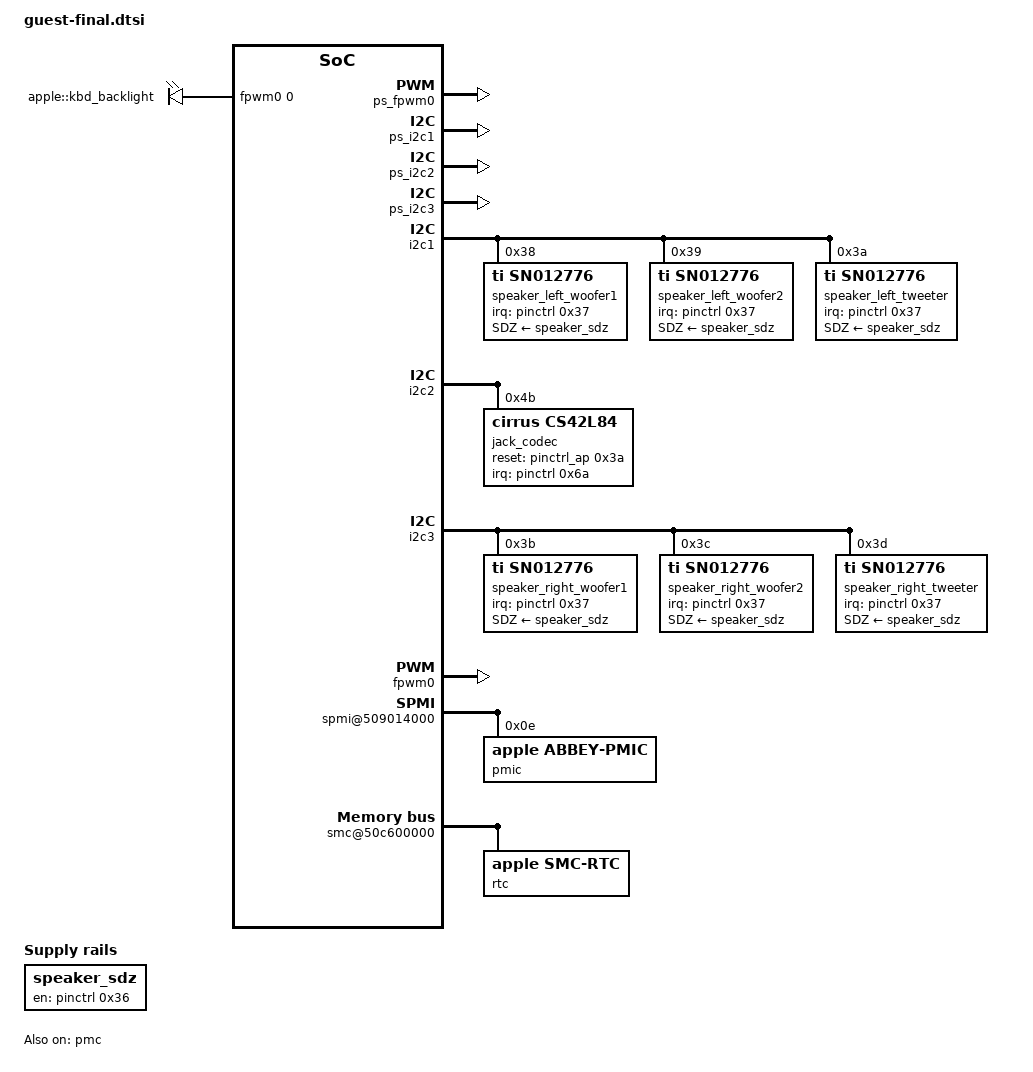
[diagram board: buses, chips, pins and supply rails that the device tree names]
// SPDX-License-Identifier: GPL-2.0-only
// F35 final: the devices the daily J616s DT has and the e2e guest lacked, ported node by node from the daily t6040-j616s DT
// (7.3.0-m4.165) and the live ADT (11-02). Rules: every DART register page is SPTM Table A and is never
// mapped, the guest's apple,dart-apif forwards table 3 through the monitor; every controller page here is Table B and the
// monitor maps it 1:1 (platform-io.h, checked by tools/check-io.py). "mhold-aop" nodes come alive only when the monitor's
// dart-aop facts match (iommu.c g_aop_ok); the rest is plain DT + MMIO.
//
// Deferred to a later candidate: USB-C ports 0/1 in host mode (the ATC PHY coprocessor "phy-cpu" never ran under the monitor;
// the gadget profile alone would be useless to the user), AVD, PMP, ISP (3 DART instances + DAPF), dcpext0/1, ANE.
/ {
	// power states of the sio bus island: parents of i2c and fpwm (daily DT labels; the node merges into the e2e one)
	power-management@502280000 {
		compatible = "apple,t6041-pmgr", "apple,pmgr", "syscon", "simple-mfd";
		#address-cells = <1>;
		#size-cells = <1>;
		reg = <0x5 0x02280000 0x0 0x4000>;
		ps_sio: power-controller@120 {
			compatible = "apple,t6041-pmgr-pwrstate", "apple,pmgr-pwrstate";
			reg = <0x120 0x4>; #power-domain-cells = <0>; #reset-cells = <0>;
			label = "sio"; apple,always-on;
		};
		ps_fpwm0: power-controller@138 {
			compatible = "apple,t6041-pmgr-pwrstate", "apple,pmgr-pwrstate";
			reg = <0x138 0x4>; #power-domain-cells = <0>; #reset-cells = <0>;
			label = "fpwm0"; apple,always-on;
			power-domains = <&ps_sio>;
		};
		ps_i2c1: power-controller@158 {
			compatible = "apple,t6041-pmgr-pwrstate", "apple,pmgr-pwrstate";
			reg = <0x158 0x4>; #power-domain-cells = <0>; #reset-cells = <0>;
			label = "i2c1"; apple,always-on;
			power-domains = <&ps_sio>;
		};
		ps_i2c2: power-controller@160 {
			compatible = "apple,t6041-pmgr-pwrstate", "apple,pmgr-pwrstate";
			reg = <0x160 0x4>; #power-domain-cells = <0>; #reset-cells = <0>;
			label = "i2c2"; apple,always-on;
			power-domains = <&ps_sio>;
		};
		ps_i2c3: power-controller@168 {
			compatible = "apple,t6041-pmgr-pwrstate", "apple,pmgr-pwrstate";
			reg = <0x168 0x4>; #power-domain-cells = <0>; #reset-cells = <0>;
			label = "i2c3"; apple,always-on;
			power-domains = <&ps_sio>;
		};
	};
	power-management@508300000 {
		compatible = "apple,t6041-pmgr", "apple,pmgr", "syscon", "simple-mfd";
		#address-cells = <1>;
		#size-cells = <1>;
		reg = <0x5 0x08300000 0x0 0x4000>;
		ps_gpio: power-controller@90 {
			compatible = "apple,t6041-pmgr-pwrstate", "apple,pmgr-pwrstate";
			reg = <0x90 0x4>; #power-domain-cells = <0>; #reset-cells = <0>;
			label = "gpio"; apple,always-on;
		};
	};

	// the AP pinctrl of the e2e guest (PERST/CLKREQ) becomes the interrupt controller the codecs and the sdz regulator use (daily DT)
	pinctrl@51c000000 {
		interrupt-controller;
		#interrupt-cells = <2>;
		interrupt-parent = <&aic>;
		interrupts = <0x0 0x1de 0x4 0x0 0x1df 0x4 0x0 0x1e0 0x4 0x0 0x1e1 0x4 0x0 0x1e2 0x4 0x0 0x1e3 0x4 0x0 0x1e4 0x4>;
		// the i2c pin groups live on this 200-pin controller (pins 58..63), not on the 61-pin pinctrl_ap (F35 HW 11-02: i2c3 and the jack reset collided there)
		i2c1_pins: i2c1-pins { pinmux = <0x1003a 0x1003b>; };
		i2c2_pins: i2c2-pins { pinmux = <0x1003c 0x1003d>; };
		i2c3_pins: i2c3-pins { pinmux = <0x1003e 0x1003f>; };
	};
	pinctrl_ap: pinctrl@5081e4000 {
		compatible = "apple,t6041-pinctrl", "apple,t8103-pinctrl";
		reg = <0x5 0x081e4000 0x0 0x4000>;
		power-domains = <&ps_gpio>;
		gpio-controller;
		#gpio-cells = <2>;
		gpio-ranges = <&pinctrl_ap 0 0 0x3d>;
		apple,npins = <0x3d>;
		interrupt-parent = <&aic>;
	};

	// === speakers: six TAS2764 on i2c1/i2c3 behind one fail-closed shutdown line, the jack codec on i2c2 ===
	speaker_sdz: regulator-sn012776-sdz {
		compatible = "regulator-fixed";
		regulator-name = "sn012776-sdz";
		gpios = <&pinctrl 0x36 0>;
		enable-active-high;
	};
	i2c1: i2c@429014000 {
		compatible = "apple,t6041-i2c", "apple,t8103-i2c";
		reg = <0x4 0x29014000 0x0 0x4000>;
		clocks = <&clkref>;
		interrupt-parent = <&aic>;
		interrupts = <0x0 0x628 0x4>;
		pinctrl-0 = <&i2c1_pins>;
		pinctrl-names = "default";
		power-domains = <&ps_i2c1>;
		#address-cells = <1>;
		#size-cells = <0>;
		status = "okay";
		speaker_left_woofer1: codec@38 {
			compatible = "ti,sn012776", "ti,tas2764";
			reg = <0x38>;
			SDZ-supply = <&speaker_sdz>;
			apple,sdz-group-fail-closed;
			#sound-dai-cells = <0>;
			sound-name-prefix = "Left Woofer 1";
			interrupts-extended = <&pinctrl 0x37 8>;
			ti,imon-slot-no = <0>;
			ti,vmon-slot-no = <2>;
		};
		speaker_left_woofer2: codec@39 {
			compatible = "ti,sn012776", "ti,tas2764";
			reg = <0x39>;
			SDZ-supply = <&speaker_sdz>;
			apple,sdz-group-fail-closed;
			#sound-dai-cells = <0>;
			sound-name-prefix = "Left Woofer 2";
			interrupts-extended = <&pinctrl 0x37 8>;
			ti,imon-slot-no = <8>;
			ti,vmon-slot-no = <10>;
		};
		speaker_left_tweeter: codec@3a {
			compatible = "ti,sn012776", "ti,tas2764";
			reg = <0x3a>;
			SDZ-supply = <&speaker_sdz>;
			apple,sdz-group-fail-closed;
			#sound-dai-cells = <0>;
			sound-name-prefix = "Left Tweeter";
			interrupts-extended = <&pinctrl 0x37 8>;
			ti,imon-slot-no = <16>;
			ti,vmon-slot-no = <18>;
		};
	};
	i2c2: i2c@429018000 {
		compatible = "apple,t6041-i2c", "apple,t8103-i2c";
		reg = <0x4 0x29018000 0x0 0x4000>;
		clocks = <&clkref>;
		interrupt-parent = <&aic>;
		interrupts = <0x0 0x629 0x4>;
		pinctrl-0 = <&i2c2_pins>;
		pinctrl-names = "default";
		power-domains = <&ps_i2c2>;
		#address-cells = <1>;
		#size-cells = <0>;
		status = "okay";
		jack_codec: codec@4b {
			compatible = "cirrus,cs42l84";
			reg = <0x4b>;
			reset-gpios = <&pinctrl_ap 0x3a 0>;
			#sound-dai-cells = <0>;
			interrupts-extended = <&pinctrl 0x6a 8>;
			sound-name-prefix = "Jack";
		};
	};
	i2c3: i2c@42901c000 {
		compatible = "apple,t6041-i2c", "apple,t8103-i2c";
		reg = <0x4 0x2901c000 0x0 0x4000>;
		clocks = <&clkref>;
		interrupt-parent = <&aic>;
		interrupts = <0x0 0x62a 0x4>;
		pinctrl-0 = <&i2c3_pins>;
		pinctrl-names = "default";
		power-domains = <&ps_i2c3>;
		#address-cells = <1>;
		#size-cells = <0>;
		status = "okay";
		speaker_right_woofer1: codec@3b {
			compatible = "ti,sn012776", "ti,tas2764";
			reg = <0x3b>;
			SDZ-supply = <&speaker_sdz>;
			apple,sdz-group-fail-closed;
			#sound-dai-cells = <0>;
			sound-name-prefix = "Right Woofer 1";
			interrupts-extended = <&pinctrl 0x37 8>;
			ti,imon-slot-no = <4>;
			ti,vmon-slot-no = <6>;
		};
		speaker_right_woofer2: codec@3c {
			compatible = "ti,sn012776", "ti,tas2764";
			reg = <0x3c>;
			SDZ-supply = <&speaker_sdz>;
			apple,sdz-group-fail-closed;
			#sound-dai-cells = <0>;
			sound-name-prefix = "Right Woofer 2";
			interrupts-extended = <&pinctrl 0x37 8>;
			ti,imon-slot-no = <12>;
			ti,vmon-slot-no = <14>;
		};
		speaker_right_tweeter: codec@3d {
			compatible = "ti,sn012776", "ti,tas2764";
			reg = <0x3d>;
			SDZ-supply = <&speaker_sdz>;
			apple,sdz-group-fail-closed;
			#sound-dai-cells = <0>;
			sound-name-prefix = "Right Tweeter";
			interrupts-extended = <&pinctrl 0x37 8>;
			ti,imon-slot-no = <20>;
			ti,vmon-slot-no = <22>;
		};
	};

	// === AOP: the always-on coprocessor (pre-loaded RTKit, adopted) and its DART; the audio DAI the speakers and mics hang on ===
	dart_aop: iommu@510f00000 {
		compatible = "apple,dart-apif";
		#iommu-cells = <1>;
		aurora,apif = <&apif>;
		apple,apif-dart-id = <0xba5e0a01>;   // live ADT dart-aop (0xa); the monitor patches it when its checks pass
		apple,apif-num-streams = <16>;       // ADT sid-count
		apple,dma-range = <0x100 0x14000 0x2ff 0xfffec000>;   // ADT vm-base 0x10000014000, vm-size 0x2fffffec000 (4 levels, 42 bits)
		apple,apif-reserve-last-page;
		status = "disabled";   // F35.1: AOP off — the first dart-aop INIT stopped the Mac on F35 (11-02 10:16); back when the stop is understood
	};
	aop_mbox: mailbox@510608000 {
		compatible = "apple,t6041-asc-mailbox", "apple,asc-mailbox-v4";
		reg = <0x5 0x10608000 0x0 0x4000>;
		interrupt-parent = <&aic>;
		interrupts = <0x0 0x2c6 0x4 0x0 0x2c7 0x4 0x0 0x2c8 0x4 0x0 0x2c9 0x4>;
		interrupt-names = "send-empty", "send-not-empty", "recv-empty", "recv-not-empty";
		#mbox-cells = <0>;
		status = "disabled";   // F35.1: AOP off — the first dart-aop INIT stopped the Mac on F35 (11-02 10:16); back when the stop is understood
	};
	admac_aop: dma-controller@513300000 {
		compatible = "apple,t6041-admac", "apple,t8132-admac";
		reg = <0x5 0x13300000 0x0 0x34000>;
		#dma-cells = <1>;
		dma-channels = <18>;
		interrupts-extended = <&aic 0x0 0x2f5 0x4>, <0 0 0>;
		iommus = <&dart_aop 10>;
		status = "disabled";   // F35.1: AOP off — the first dart-aop INIT stopped the Mac on F35 (11-02 10:16); back when the stop is understood
	};
	admac_sio: dma-controller@513800000 {
		compatible = "apple,t6041-admac", "apple,t8132-admac";
		reg = <0x5 0x13800000 0x0 0x34000>;
		#dma-cells = <1>;
		dma-channels = <13>;
		interrupts-extended = <&aic 0x0 0x2f2 0x4>, <0 0 0>;
		iommus = <&dart_aop 8>;
		status = "disabled";   // F35.1: AOP off — the first dart-aop INIT stopped the Mac on F35 (11-02 10:16); back when the stop is understood
	};
	aop: aop@510600000 {
		compatible = "apple,t6041-aop", "apple,t6040-aop";
		reg = <0x5 0x10c10000 0x0 0x2e0000>, <0x5 0x10600000 0x0 0x88000>, <0x5 0x10050000 0x0 0x4000>, <0x5 0x08328000 0x0 0x24>;
		reg-names = "firmware", "asc", "asc-aux", "config";
		mboxes = <&aop_mbox>;
		mbox-names = "mbox";
		iommus = <&dart_aop 0>;
		#address-cells = <2>;
		#size-cells = <2>;
		status = "disabled";   // F35.1: AOP off — the first dart-aop INIT stopped the Mac on F35 (11-02 10:16); back when the stop is understood
		aop_audio: audio {
			compatible = "apple,t6041-aop-audio", "apple,t6030-aop-audio";
			dmas = <&admac_aop 1>, <&admac_sio 0>, <&admac_sio 1>, <&admac_sio 4>, <&admac_sio 5>;
			dma-names = "dma", "spkr", "sense", "cout", "cin";
			#sound-dai-cells = <1>;
			apple,chassis-name = "J616";
			apple,machine-kind = "MacBook Pro";
		};
		als { compatible = "apple,t6041-aop-als", "apple,aop-als"; };
		las { compatible = "apple,t6041-aop-las", "apple,aop-las"; };
	};
	sound {
		compatible = "apple,j616-macaudio", "apple,macaudio";
		model = "MacBook Pro J616";
		#address-cells = <1>;
		#size-cells = <0>;
		status = "disabled";   // F35.1: AOP off — the first dart-aop INIT stopped the Mac on F35 (11-02 10:16); back when the stop is understood
		dai-link@0 {
			reg = <0>;
			link-name = "Speakers";
			dai-tdm-idle-mode-0 = "zero";
			dai-tdm-idle-mode-1 = "zero";
			dai-tdm-slot-tx-idle-mask-0 = <0xf0f0f0>;
			dai-tdm-slot-tx-idle-mask-1 = <0xf0f0f>;
			cpu { sound-dai = <&aop_audio 3>; };
			codec { sound-dai = <&speaker_left_woofer1>, <&speaker_right_woofer1>, <&speaker_left_woofer2>, <&speaker_right_woofer2>, <&speaker_left_tweeter>, <&speaker_right_tweeter>; };
		};
	};
	sound-jack {
		compatible = "apple,j616-macaudio-jack", "apple,macaudio";
		model = "MacBook Pro J616 Jack";
		#address-cells = <1>;
		#size-cells = <0>;
		status = "disabled";   // F35.1: AOP off — the first dart-aop INIT stopped the Mac on F35 (11-02 10:16); back when the stop is understood
		dai-link@0 {
			reg = <0>;
			link-name = "Headphone Jack";
			cpu { sound-dai = <&aop_audio 4>; };
			codec { sound-dai = <&jack_codec>; };
		};
	};

	// === keyboard backlight ===
	fpwm0: pwm@429040000 {
		compatible = "apple,t6041-fpwm", "apple,s5l-fpwm";
		reg = <0x4 0x29040000 0x0 0x4000>;
		clocks = <&clkref>;
		power-domains = <&ps_fpwm0>;
		#pwm-cells = <2>;
		status = "okay";
	};
	led-controller {
		compatible = "pwm-leds";
		led-0 {
			pwms = <&fpwm0 0 0x9c40>;
			label = "apple::kbd_backlight";
			function = "kbd_backlight";
			color = <0>;
			max-brightness = <255>;
		};
	};

	// === rtc and clean reboot: SMC children reading the pmic nvmem on the main spmi bus ===
	spmi@509014000 {
		compatible = "apple,t6041-spmi", "apple,t8103-spmi";
		reg = <0x5 0x09014000 0x0 0x100>;
		#address-cells = <2>;
		#size-cells = <0>;
		status = "okay";
		pmic@e {
			compatible = "apple,abbey-pmic", "apple,spmi-nvmem";
			reg = <0xe 0x0>;
			nvmem-layout {
				compatible = "fixed-layout";
				#address-cells = <1>;
				#size-cells = <1>;
				rtc_offset: rtc-offset@2100 { reg = <0x2100 0x6>; };
				boot_stage: boot-stage@f801 { reg = <0xf801 0x1>; };
				boot_error_count: boot-error-count@f802,0 { reg = <0xf802 0x1>; bits = <0 4>; };
				panic_count: panic-count@f802,4 { reg = <0xf802 0x1>; bits = <4 4>; };
				shutdown_flag: shutdown-flag@f80f,3 { reg = <0xf80f 0x1>; bits = <3 1>; };
			};
		};
	};
	smc@50c600000 {
		// smc-reboot left out: on F35 (HW 11-02) its poweroff ("Preparing for reboot (offw)") never completed under the monitor and
		// the machine sat there until the power button; the PSCI path of F34 is kept instead. rtc stays.
		rtc {
			compatible = "apple,smc-rtc";
			nvmem-cells = <&rtc_offset>;
			nvmem-cell-names = "rtc_offset";
		};
	};

	// === PMC: the T6041 power-management controller (daily DT node, built-in driver apple_pmc). XNU's PMC driver drives the
	// shutdown through it (RMBS at +0x60000, enable +0xac024): without this node macsmc-reboot's "off1" never completed on F35
	// (HW 11-02, WDT ticks went on after "Preparing for reboot"). Its pages sit inside the 0x504800000+0xbc000 window the guest maps already.
	pmc: power-management@5048aa000 {
		compatible = "apple,t6041-pmc";
		reg = <0x5 0x048aa000 0x0 0x3000>, <0x5 0x04800000 0x0 0x10000>;
		reg-names = "rails", "voters";
		nonposted-mmio;
		#address-cells = <1>;
		#size-cells = <0>;
		apple,static-voters = <1 3>;
		status = "okay";
		performance-controller@1 {
			compatible = "apple,t6041-clpc";
			reg = <1>;
		};
	};

	// === idle: WFI on both states on T6041 (cpuidle-apple collapses PWRDOWN to WFI; HW F34 WFI survived) ===
	cpuidle {
		compatible = "apple,t6041-cpuidle";
		status = "okay";
	};
};
